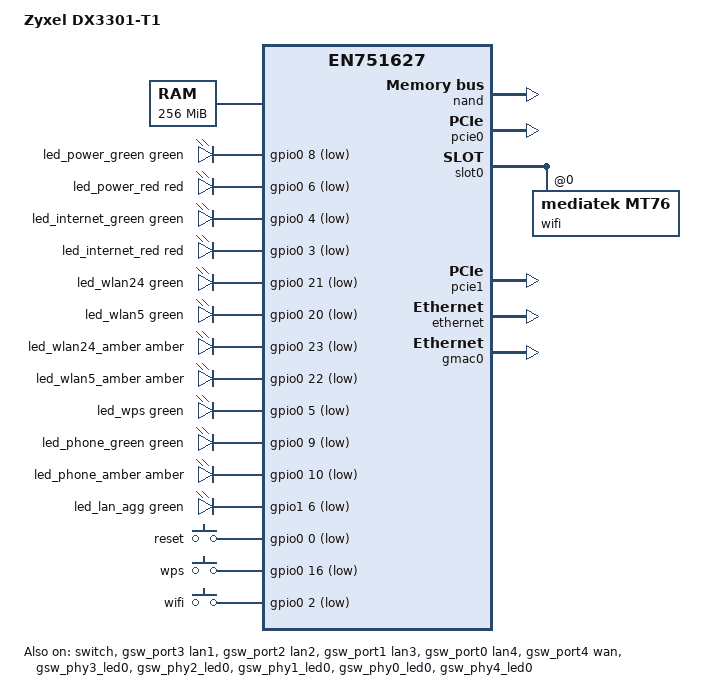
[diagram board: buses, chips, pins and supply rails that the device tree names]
// SPDX-License-Identifier: (GPL-2.0-only OR BSD-2-Clause)
/dts-v1/;

#include "en751627.dtsi"
#include <dt-bindings/gpio/gpio.h>
#include <dt-bindings/input/input.h>
#include <dt-bindings/leds/common.h>

/ {
	model = "Zyxel DX3301-T1";
	compatible = "zyxel,dx3301-t1", "econet,en751627";

	aliases {
		led-boot = &led_power_green;
		led-failsafe = &led_power_red;
		led-running = &led_power_green;
		led-upgrade = &led_power_red;
	};

	memory@0 {
		device_type = "memory";
		reg = <0x00000000 0x10000000>;
	};

	chosen {
		stdout-path = "/serial@1fbf0000:115200";
	};

	leds {
		compatible = "gpio-leds";

		led_power_green: led-0 {
			color = <LED_COLOR_ID_GREEN>;
			function = LED_FUNCTION_POWER;
			gpios = <&gpio0 8 GPIO_ACTIVE_LOW>;
			default-state = "on";
		};

		led_power_red: led-1 {
			color = <LED_COLOR_ID_RED>;
			function = LED_FUNCTION_POWER;
			gpios = <&gpio0 6 GPIO_ACTIVE_LOW>;
			default-state = "off";
		};

		led_internet_green: led-2 {
			color = <LED_COLOR_ID_GREEN>;
			function = "internet";
			gpios = <&gpio0 4 GPIO_ACTIVE_LOW>;
			default-state = "off";
		};

		led_internet_red: led-3 {
			color = <LED_COLOR_ID_RED>;
			function = "internet";
			gpios = <&gpio0 3 GPIO_ACTIVE_LOW>;
			default-state = "off";
		};

		led_wlan24: led-4 {
			color = <LED_COLOR_ID_GREEN>;
			function = "wlan2g";
			gpios = <&gpio0 21 GPIO_ACTIVE_LOW>;
			linux,default-trigger = "phy0tpt";
			default-state = "off";
		};

		led_wlan5: led-5 {
			color = <LED_COLOR_ID_GREEN>;
			function = "wlan5g";
			gpios = <&gpio0 20 GPIO_ACTIVE_LOW>;
			linux,default-trigger = "phy1tpt";
			default-state = "off";
		};

		/*
		 * Panel map verified on hardware 2026-11-22. There is no DSL LED
		 * and no separate WAN LED on this FTTH variant.
		 */
		led_wlan24_amber: led-9 {
			color = <LED_COLOR_ID_AMBER>;
			function = "wlan2g";
			gpios = <&gpio0 23 GPIO_ACTIVE_LOW>;
			default-state = "off";
		};

		led_wlan5_amber: led-12 {
			color = <LED_COLOR_ID_AMBER>;
			function = "wlan5g";
			gpios = <&gpio0 22 GPIO_ACTIVE_LOW>;
			default-state = "off";
		};

		led_wps: led-6 {
			color = <LED_COLOR_ID_GREEN>;
			function = LED_FUNCTION_WPS;
			gpios = <&gpio0 5 GPIO_ACTIVE_LOW>;
			default-state = "off";
		};

		led_phone_green: led-11 {
			color = <LED_COLOR_ID_GREEN>;
			function = "phone";
			gpios = <&gpio0 9 GPIO_ACTIVE_LOW>;
			default-state = "off";
		};

		led_phone_amber: led-13 {
			color = <LED_COLOR_ID_AMBER>;
			function = "phone";
			gpios = <&gpio0 10 GPIO_ACTIVE_LOW>;
			default-state = "off";
		};

		led_lan_agg: led-7 {
			color = <LED_COLOR_ID_GREEN>;
			function = LED_FUNCTION_LAN;
			gpios = <&gpio1 6 GPIO_ACTIVE_LOW>;
			default-state = "off";
		};
	};

	keys {
		compatible = "gpio-keys-polled";
		poll-interval = <100>;

		key-reset {
			label = "reset";
			gpios = <&gpio0 0 GPIO_ACTIVE_LOW>;
			linux,code = <KEY_RESTART>;
		};

		key-wps {
			label = "wps";
			gpios = <&gpio0 16 GPIO_ACTIVE_LOW>;
			linux,code = <KEY_WPS_BUTTON>;
		};

		key-wifi {
			label = "wifi";
			gpios = <&gpio0 2 GPIO_ACTIVE_LOW>;
			linux,code = <KEY_RFKILL>;
		};
	};
};

&nand {
	status = "okay";
	econet,bmt;
	econet,bbt-table-size = <250>;
	/*
	 * Bring-up check only: the driver warns this must not be used in
	 * production because the reserve size grows when a reserve block
	 * wears out, which would then abort the NAND probe.
	 * econet,assert-reserve-size = <167>;
	 */

	partitions {
		compatible = "fixed-partitions";
		#address-cells = <1>;
		#size-cells = <1>;

		partition@0 {
			label = "bootloader";
			reg = <0x0 0x40000>;
			read-only;

			nvmem-layout {
				compatible = "fixed-layout";
				#address-cells = <1>;
				#size-cells = <1>;

				macaddr_bootloader_ff48: macaddr@ff48 {
					compatible = "mac-base";
					reg = <0xff48 0x6>;
					#nvmem-cell-cells = <1>;
				};
			};
		};

		partition@40000 {
			label = "romfile";
			reg = <0x40000 0x40000>;
			read-only;
		};

		partition@80000 {
			label = "tclinux_kernel";
			reg = <0x80000 0x400000>;
			econet,enable-remap;
		};

		partition@480000 {
			label = "ubi";
			reg = <0x480000 0x3800000>;
		};

		partition@3c80000 {
			label = "tclinux_slave";
			reg = <0x3c80000 0x3c00000>;
			read-only;
		};

		partition@7880000 {
			label = "wwan";
			reg = <0x7880000 0x100000>;
		};

		partition@7980000 {
			label = "data";
			reg = <0x7980000 0x400000>;
			read-only;
		};

		partition@7d80000 {
			label = "rom-d";
			reg = <0x7d80000 0x100000>;
			read-only;
		};

		partition@7e80000 {
			label = "misc";
			reg = <0x7e80000 0x152c0000>;
			read-only;
		};

		partition@1d140000 {
			label = "Factory";
			reg = <0x1d140000 0x80000>;
			read-only;
		};

		partition@1d1c0000 {
			label = "cert";
			reg = <0x1d1c0000 0x100000>;
			read-only;
		};

		/*
		 * Writable: the zloader boot flag lives at block 5, offset 4095.
		 * The 5 GHz EEPROM is a 4 KiB blob at offset 0x4a000.
		 */
		partition@1d2c0000 {
			label = "reservearea";
			reg = <0x1d2c0000 0x180000>;

			nvmem-layout {
				compatible = "fixed-layout";
				#address-cells = <1>;
				#size-cells = <1>;

				eeprom_reservearea_4a000: eeprom@4a000 {
					reg = <0x4a000 0x1000>;
				};
			};
		};
	};
};

&pcie0 {
	status = "okay";
};

&slot0 {
	status = "okay";

	wifi@0,0 {
		compatible = "mediatek,mt76";
		reg = <0x0000 0 0 0 0>;
		nvmem-cells = <&eeprom_reservearea_4a000>;
		nvmem-cell-names = "eeprom";
		#address-cells = <1>;
		#size-cells = <0>;

		band@0 {
			reg = <0>;
			nvmem-cells = <&macaddr_bootloader_ff48 1>;
			nvmem-cell-names = "mac-address";
		};

		band@1 {
			reg = <1>;
			nvmem-cells = <&macaddr_bootloader_ff48 2>;
			nvmem-cell-names = "mac-address";
		};
	};
};

&pcie1 {
	status = "okay";

	/* Slot 1 is a second link to the same wifi chip */
};

&ethernet {
	status = "okay";
};

&gmac0 {
	nvmem-cells = <&macaddr_bootloader_ff48 0>;
	nvmem-cell-names = "mac-address";
	status = "okay";
};

&switch {
	status = "okay";
};

&gsw_port3 {
	status = "okay";
	label = "lan1";
};

&gsw_port2 {
	status = "okay";
	label = "lan2";
};

&gsw_port1 {
	status = "okay";
	label = "lan3";
};

&gsw_port0 {
	status = "okay";
	label = "lan4";
};

&gsw_port4 {
	status = "okay";
	label = "wan";
};

&gsw_phy3_led0 {
	color = <LED_COLOR_ID_GREEN>;
	function = LED_FUNCTION_LAN;
	function-enumerator = <1>;
	status = "okay";
};

&gsw_phy2_led0 {
	color = <LED_COLOR_ID_GREEN>;
	function = LED_FUNCTION_LAN;
	function-enumerator = <2>;
	status = "okay";
};

&gsw_phy1_led0 {
	color = <LED_COLOR_ID_GREEN>;
	function = LED_FUNCTION_LAN;
	function-enumerator = <3>;
	status = "okay";
};

&gsw_phy0_led0 {
	color = <LED_COLOR_ID_GREEN>;
	function = LED_FUNCTION_LAN;
	function-enumerator = <4>;
	status = "okay";
};

&gsw_phy4_led0 {
	color = <LED_COLOR_ID_GREEN>;
	function = LED_FUNCTION_WAN;
	status = "okay";
};
